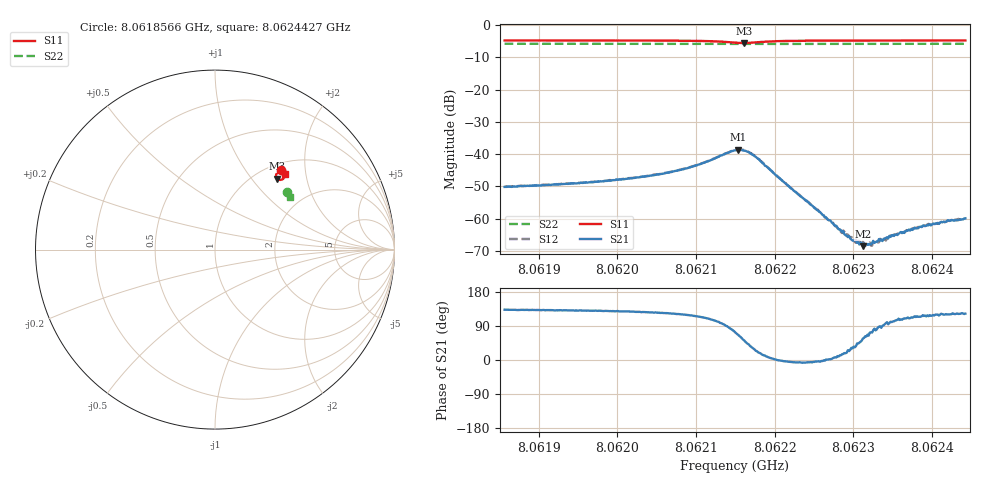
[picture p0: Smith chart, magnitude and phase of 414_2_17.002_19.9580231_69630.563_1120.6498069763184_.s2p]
#  HZ  S  RI  R  50.00
! Rohde & Schwarz Vector Network Analyzer
! Rohde-Schwarz,ZNB20-2Port,1311601062101988,3.16
! Created: UTC 3/20/2024, 11:10:40 PM
! freq[Hz]  re:S11  im:S11  re:S21  im:S21  re:S12  im:S12  re:S22  im:S22
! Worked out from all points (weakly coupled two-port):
!   401 points, 8.0618566 GHz to 8.0624427 GHz, reference 50 ohm
!   highest |S21| = -38.61 dB at 8.062154 GHz (marker M1); lowest = -68.5 dB at 8.0623123 GHz (marker M2)
!   lowest |S11| = -5.6 dB at 8.0621614 GHz (marker M3), VSWR 3.22, Z = 62.1 + j67.8 ohm
!   |S11| at or under -10 dB: nowhere
!   |S22| runs from -5.9 to -5.8 dB; largest |S21 - S12| = 0.00085
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8.06185657e9  0.3678 0.4433  -0.00211 0.00228  -0.00197 0.00242  0.3995 0.3202
8.06195475e9  0.3748 0.4372  -0.00233 0.00273  -0.00214 0.00287  0.4031 0.3153
8.06201043e9  0.3792 0.4323  -0.00256 0.00324  -0.00239 0.00343  0.4053 0.3123
8.06205292e9  0.383 0.4272  -0.00278 0.00401  -0.00252 0.00417  0.4067 0.3101
8.06209981e9  0.3872 0.4162  -0.00286 0.00599  -0.00257 0.00619  0.4085 0.3074
8.06214963e9  0.3653 0.3883  0.00327 0.011  0.00399 0.0108  0.4087 0.3041
8.06215403e9  0.3583 0.3889  0.00477 0.0107  0.00544 0.0104  0.4087 0.3038
8.06216135e9  0.3472 0.3949  0.007 0.00889  0.00768 0.00856  0.4083 0.304
8.06216721e9  0.3417 0.4035  0.0081 0.00702  0.00863 0.00643  0.4087 0.3043
8.06217747e9  0.3411 0.4185  0.00803 0.00345  0.00832 0.00299  0.4089 0.3044
8.06220971e9  0.3595 0.4352  0.00388 -0.000148  0.00386 -0.000412  0.4112 0.3034
8.06224781e9  0.372 0.4345  0.00158 -0.00017  0.00156 -0.000229  0.413 0.3014
8.06228297e9  0.378 0.4322  0.000667 0.000144  0.000702 9.95e-05  0.4143 0.2994
8.06229909e9  0.3801 0.4312  0.000393 0.000235  0.000438 0.000232  0.415 0.2985
8.06230495e9  0.3809 0.4307  0.000306 0.000292  0.000348 0.000269  0.4152 0.2983
8.06231228e9  0.3816 0.4301  0.000206 0.000313  0.000244 0.000369  0.4155 0.2978
8.06232107e9  0.3826 0.4295  0.000126 0.000387  0.000174 0.000391  0.4159 0.2974
8.06234598e9  0.385 0.4279  -7.11e-05 0.000535  -8.88e-05 0.000526  0.4168 0.2962
8.06237529e9  0.3876 0.4261  -0.000249 0.00062  -0.000233 0.000664  0.4177 0.2947
8.06239287e9  0.3888 0.425  -0.00033 0.000705  -0.000323 0.000709  0.4184 0.2936
8.06242218e9  0.3909 0.4232  -0.000467 0.000804  -0.000427 0.000815  0.4194 0.2922
8.06244269e9  0.3923 0.4221  -0.000542 0.000855  -0.000493 0.000896  0.4202 0.2911
